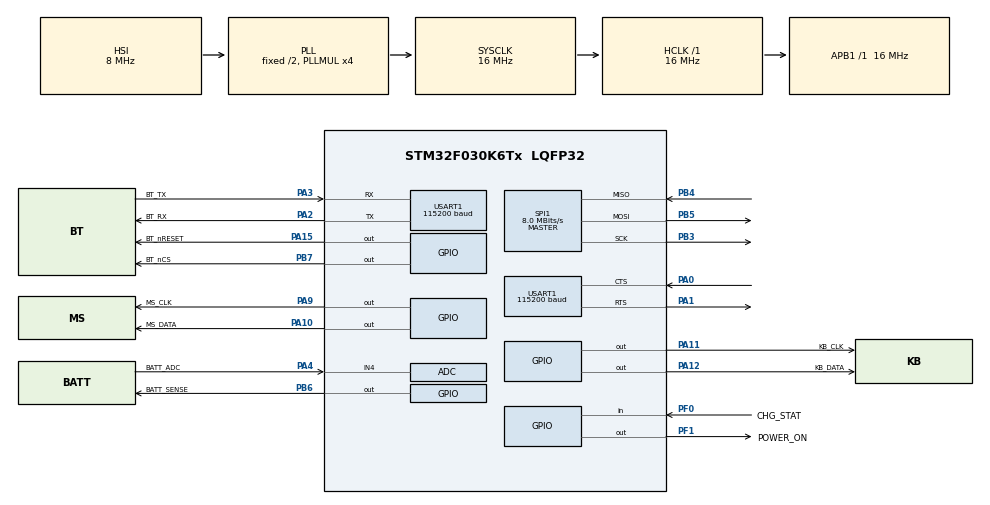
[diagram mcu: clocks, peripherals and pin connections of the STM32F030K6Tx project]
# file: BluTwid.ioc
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ADC.ClockPrescaler=ADC_CLOCK_ASYNC_DIV1
ADC.SamplingTime=ADC_SAMPLETIME_13CYCLES_5
Mcu.Family=STM32F0
Mcu.Name=STM32F030K6Tx
Mcu.Package=LQFP32
PA0.Mode=CTS_RTS
PA0.Signal=USART1_CTS
PA1.Mode=CTS_RTS
PA1.Signal=USART1_RTS
PA10.GPIO_Label=MS_DATA
PA10.GPIO_ModeDefaultOutputPP=GPIO_MODE_OUTPUT_OD
PA10.GPIO_PuPd=GPIO_PULLUP
PA10.Signal=GPIO_Output
PA11.GPIO_Label=KB_CLK
PA11.GPIO_ModeDefaultOutputPP=GPIO_MODE_OUTPUT_OD
PA11.GPIO_PuPd=GPIO_PULLUP
PA11.Signal=GPIO_Output
PA12.GPIO_Label=KB_DATA
PA12.GPIO_ModeDefaultOutputPP=GPIO_MODE_OUTPUT_OD
PA12.GPIO_PuPd=GPIO_PULLUP
PA12.Signal=GPIO_Output
PA13.Mode=Serial-WireDebug
PA13.Signal=SYS_SWDIO
PA14.Mode=Serial-WireDebug
PA14.Signal=SYS_SWCLK
PA15.GPIO_Label=BT_nRESET
PA15.Signal=GPIO_Output
PA2.GPIO_Label=BT_RX
PA2.Mode=Asynchronous
PA2.Signal=USART1_TX
PA3.GPIO_Label=BT_TX
PA3.Mode=Asynchronous
PA3.Signal=USART1_RX
PA4.GPIO_Label=BATT_ADC
PA4.Mode=IN4
PA4.Signal=ADC_IN4
PA9.GPIO_Label=MS_CLK
PA9.GPIO_ModeDefaultOutputPP=GPIO_MODE_OUTPUT_OD
PA9.GPIO_PuPd=GPIO_PULLUP
PA9.Signal=GPIO_Output
PB3.Mode=Full_Duplex_Master
PB3.Signal=SPI1_SCK
PB4.Mode=Full_Duplex_Master
PB4.Signal=SPI1_MISO
PB5.Mode=Full_Duplex_Master
PB5.Signal=SPI1_MOSI
PB6.GPIO_Label=BATT_SENSE
PB6.Signal=GPIO_Output
PB7.GPIO_Label=BT_nCS
PB7.PinState=GPIO_PIN_SET
PB7.Signal=GPIO_Output
PF0-OSC_IN.GPIO_Label=CHG_STAT
PF0-OSC_IN.Signal=GPIO_Input
PF1-OSC_OUT.GPIO_Label=POWER_ON
PF1-OSC_OUT.PinState=GPIO_PIN_SET
PF1-OSC_OUT.Signal=GPIO_Output
ProjectManager.HeapSize=0x200
ProjectManager.StackSize=0x400
ProjectManager.TargetToolchain=SW4STM32
RCC.AHBFreq_Value=16000000
RCC.APB1Freq_Value=16000000
RCC.APB1TimFreq_Value=16000000
RCC.HCLKFreq_Value=16000000
RCC.PLLMUL=RCC_PLL_MUL4
RCC.SYSCLKFreq_VALUE=16000000
RCC.SYSCLKSource=RCC_SYSCLKSOURCE_PLLCLK
SPI1.BaudRatePrescaler=SPI_BAUDRATEPRESCALER_2
SPI1.CalculateBaudRate=8.0 MBits/s
SPI1.DataSize=SPI_DATASIZE_8BIT
SPI1.Mode=SPI_MODE_MASTER
SPI1.NSSPMode=SPI_NSS_PULSE_DISABLE
USART1.BaudRate=115200
VP_ADC_TempSens_Input.Mode=IN-TempSens
VP_IWDG_VS_IWDG.Mode=IWDG_Activate
board=BluTwid

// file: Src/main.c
/**
  ******************************************************************************
  * File Name          : main.c
  * Description        : Main program body
  ******************************************************************************
  *
  * COPYRIGHT(c) 2016 STMicroelectronics
  *
  * Redistribution and use in source and binary forms, with or without modification,
  * are permitted provided that the following conditions are met:
  *   1. Redistributions of source code must retain the above copyright notice,
  *      this list of conditions and the following disclaimer.
  *   2. Redistributions in binary form must reproduce the above copyright notice,
  *      this list of conditions and the following disclaimer in the documentation
  *      and/or other materials provided with the distribution.
  *   3. Neither the name of STMicroelectronics nor the names of its contributors
  *      may be used to endorse or promote products derived from this software
  *      without specific prior written permission.
  *
  * THIS SOFTWARE IS PROVIDED BY THE COPYRIGHT HOLDERS AND CONTRIBUTORS "AS IS"
  * AND ANY EXPRESS OR IMPLIED WARRANTIES, INCLUDING, BUT NOT LIMITED TO, THE
  * IMPLIED WARRANTIES OF MERCHANTABILITY AND FITNESS FOR A PARTICULAR PURPOSE ARE
  * DISCLAIMED. IN NO EVENT SHALL THE COPYRIGHT HOLDER OR CONTRIBUTORS BE LIABLE
  * FOR ANY DIRECT, INDIRECT, INCIDENTAL, SPECIAL, EXEMPLARY, OR CONSEQUENTIAL
  * DAMAGES (INCLUDING, BUT NOT LIMITED TO, PROCUREMENT OF SUBSTITUTE GOODS OR
  * SERVICES; LOSS OF USE, DATA, OR PROFITS; OR BUSINESS INTERRUPTION) HOWEVER
  * CAUSED AND ON ANY THEORY OF LIABILITY, WHETHER IN CONTRACT, STRICT LIABILITY,
  * OR TORT (INCLUDING NEGLIGENCE OR OTHERWISE) ARISING IN ANY WAY OUT OF THE USE
  * OF THIS SOFTWARE, EVEN IF ADVISED OF THE POSSIBILITY OF SUCH DAMAGE.
  *
  ******************************************************************************
  */
#include "stm32f0xx.h"
#include "adc.h"
#include "iwdg.h"
#include "spi.h"
#include "usart.h"
#include "gpio.h"

/* USER CODE BEGIN Includes */

#include <stdbool.h>

#include "blutwid.h"
#include "ps2keyboard.h"
#include "ps2mouse.h"

/* USER CODE END Includes */

/* USER CODE BEGIN PV */
/* Private variables ---------------------------------------------------------*/

/* USER CODE END PV */

void SystemClock_Config(void);

/* USER CODE BEGIN PFP */
/* Private function prototypes -----------------------------------------------*/

/* USER CODE END PFP */

/* USER CODE BEGIN 0 */

void BT_PowerOff(void)
{
  HAL_GPIO_WritePin(POWER_ON_GPIO_Port, POWER_ON_Pin, GPIO_PIN_RESET);
}

/* USER CODE END 0 */

int main(void)
{

  /* USER CODE BEGIN 1 */

  uint32_t idle_timeout = HAL_GetTick() + BT_IDLE_POWEROFF_TIMEOUT_MS;
  uint32_t battcheck_timeout = HAL_GetTick();

  /* USER CODE END 1 */

  /* MCU Configuration----------------------------------------------------------*/

  /* Reset of all peripherals, Initializes the Flash interface and the Systick. */
  HAL_Init();

  /* Configure the system clock */
  SystemClock_Config();

  /* Initialize all configured peripherals */
  MX_GPIO_Init();
  MX_ADC_Init();
  MX_USART1_UART_Init();
  MX_IWDG_Init();
  MX_SPI1_Init();

  /* Infinite loop */
  while (1)
  {

  /* USER CODE BEGIN 3 */

    // check battery
    if (HAL_GetTick() - battcheck_timeout > 0)
    {
      uint32_t batt_voltage = BT_ADC_ReadBatteryVoltage();
      if (batt_voltage < BT_BATTERY_LEVEL_CRITICAL_mV)
      {
        //BT_PowerOff();
      }
      battcheck_timeout += BT_BATTERY_CHECK_INTERVAL_MS;
    }

    // power off if idle
    if (HAL_GetTick() - idle_timeout > 0)
    {
      BT_PowerOff();
    }

    PS2Keyboard_Process();

    //PS2Mouse_Process();

  }
  /* USER CODE END 3 */

}

/** System Clock Configuration
*/
void SystemClock_Config(void)
{

  RCC_OscInitTypeDef RCC_OscInitStruct;
  RCC_ClkInitTypeDef RCC_ClkInitStruct;
  RCC_PeriphCLKInitTypeDef PeriphClkInit;

  RCC_OscInitStruct.OscillatorType = RCC_OSCILLATORTYPE_HSI|RCC_OSCILLATORTYPE_HSI14
                              |RCC_OSCILLATORTYPE_LSI;
  RCC_OscInitStruct.HSIState = RCC_HSI_ON;
  RCC_OscInitStruct.HSI14State = RCC_HSI14_ON;
  RCC_OscInitStruct.HSICalibrationValue = 16;
  RCC_OscInitStruct.HSI14CalibrationValue = 16;
  RCC_OscInitStruct.LSIState = RCC_LSI_ON;
  RCC_OscInitStruct.PLL.PLLState = RCC_PLL_ON;
  RCC_OscInitStruct.PLL.PLLSource = RCC_PLLSOURCE_HSI;
  RCC_OscInitStruct.PLL.PLLMUL = RCC_PLL_MUL4;
  RCC_OscInitStruct.PLL.PREDIV = RCC_PREDIV_DIV1;
  HAL_RCC_OscConfig(&RCC_OscInitStruct);

  RCC_ClkInitStruct.ClockType = RCC_CLOCKTYPE_HCLK|RCC_CLOCKTYPE_SYSCLK
                              |RCC_CLOCKTYPE_PCLK1;
  RCC_ClkInitStruct.SYSCLKSource = RCC_SYSCLKSOURCE_PLLCLK;
  RCC_ClkInitStruct.AHBCLKDivider = RCC_SYSCLK_DIV1;
  RCC_ClkInitStruct.APB1CLKDivider = RCC_HCLK_DIV1;
  HAL_RCC_ClockConfig(&RCC_ClkInitStruct, FLASH_LATENCY_0);

  PeriphClkInit.PeriphClockSelection = RCC_PERIPHCLK_USART1;
  PeriphClkInit.Usart1ClockSelection = RCC_USART1CLKSOURCE_PCLK1;
  HAL_RCCEx_PeriphCLKConfig(&PeriphClkInit);

  HAL_SYSTICK_Config(HAL_RCC_GetHCLKFreq()/1000);

  HAL_SYSTICK_CLKSourceConfig(SYSTICK_CLKSOURCE_HCLK);

  /* SysTick_IRQn interrupt configuration */
  HAL_NVIC_SetPriority(SysTick_IRQn, 0, 0);
}

/************************ (C) COPYRIGHT STMicroelectronics *****END OF FILE****/
